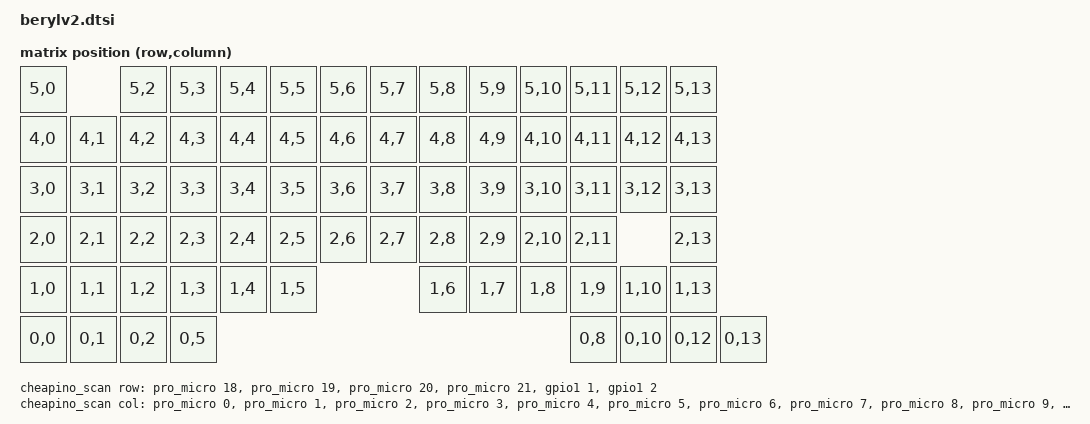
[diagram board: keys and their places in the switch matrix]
/*
 * Copyright (c) 2022 The ZMK Contributors
 *
 * SPDX-License-Identifier: MIT
 */

#include <dt-bindings/zmk/matrix_transform.h>
//#include "cheapinov2-layout.dtsi"

&cheapino_layout {
    transform = <&default_transform>;
};

/ {
    chosen {
        zmk,kscan = &cheapino_scan;
        //zmk,physical-layout = &cheapino_layout;
        transform = <&default_transform>;
    };

    default_transform: keymap_transform_0 {
        compatible = "zmk,matrix-transform";
        columns = <14>; // Length of the "col-gpios" array
        rows = <6>; // Length of the "row-gpios" array
        map = <
			//
            RC(5,0)         RC(5,2) RC(5,3) RC(5,4) RC(5,5) RC(5,6) RC(5,7) RC(5,8) RC(5,9) RC(5,10) RC(5,11) RC(5,12) RC(5,13)
			//
            RC(4,0) RC(4,1) RC(4,2) RC(4,3) RC(4,4) RC(4,5) RC(4,6) RC(4,7) RC(4,8) RC(4,9) RC(4,10) RC(4,11) RC(4,12) RC(4,13) 
			//
			RC(3,0) RC(3,1) RC(3,2) RC(3,3) RC(3,4) RC(3,5) RC(3,6) RC(3,7) RC(3,8) RC(3,9) RC(3,10) RC(3,11) RC(3,12) RC(3,13) 
			//
            RC(2,0) RC(2,1) RC(2,2) RC(2,3) RC(2,4) RC(2,5) RC(2,6) RC(2,7) RC(2,8) RC(2,9) RC(2,10) RC(2,11)           RC(2,13) 
			//
            RC(1,0) RC(1,1) RC(1,2) RC(1,3) RC(1,4) RC(1,5) RC(1,6) RC(1,7) RC(1,8) RC(1,9) RC(1,10)                     RC(1,13) 
			//
			RC(0,0) RC(0,1) RC(0,2)                   RC(0,5)                   RC(0,8)         RC(0,10)           RC(0,12) RC(0,13) 
			//
        >;
    };


    cheapino_scan: kscan0 {
			compatible = "zmk,kscan-gpio-matrix";
			diode-direction = "col2row";
			wakeup-source;

			col-gpios
				= <&pro_micro 0 GPIO_ACTIVE_HIGH>
				, <&pro_micro 1 GPIO_ACTIVE_HIGH>
				, <&pro_micro 2 GPIO_ACTIVE_HIGH>
				, <&pro_micro 3 GPIO_ACTIVE_HIGH>
				, <&pro_micro 4 GPIO_ACTIVE_HIGH>
				, <&pro_micro 5 GPIO_ACTIVE_HIGH>
				, <&pro_micro 6 GPIO_ACTIVE_HIGH>
				, <&pro_micro 7 GPIO_ACTIVE_HIGH>
				, <&pro_micro 8 GPIO_ACTIVE_HIGH>
				, <&pro_micro 9 GPIO_ACTIVE_HIGH>
				, <&pro_micro 10 GPIO_ACTIVE_HIGH>
				, <&pro_micro 16 GPIO_ACTIVE_HIGH>
				, <&pro_micro 14 GPIO_ACTIVE_HIGH>
				, <&pro_micro 15 GPIO_ACTIVE_HIGH>
				;

			row-gpios
				= <&pro_micro 18 (GPIO_ACTIVE_HIGH | GPIO_PULL_DOWN)>
				, <&pro_micro 19 (GPIO_ACTIVE_HIGH | GPIO_PULL_DOWN)>
				, <&pro_micro 20 (GPIO_ACTIVE_HIGH | GPIO_PULL_DOWN)>
				, <&pro_micro 21 (GPIO_ACTIVE_HIGH | GPIO_PULL_DOWN)>
				, <&gpio1 1 (GPIO_ACTIVE_HIGH | GPIO_PULL_DOWN)>
				, <&gpio1 2 (GPIO_ACTIVE_HIGH | GPIO_PULL_DOWN)>			
				;

    };
};

